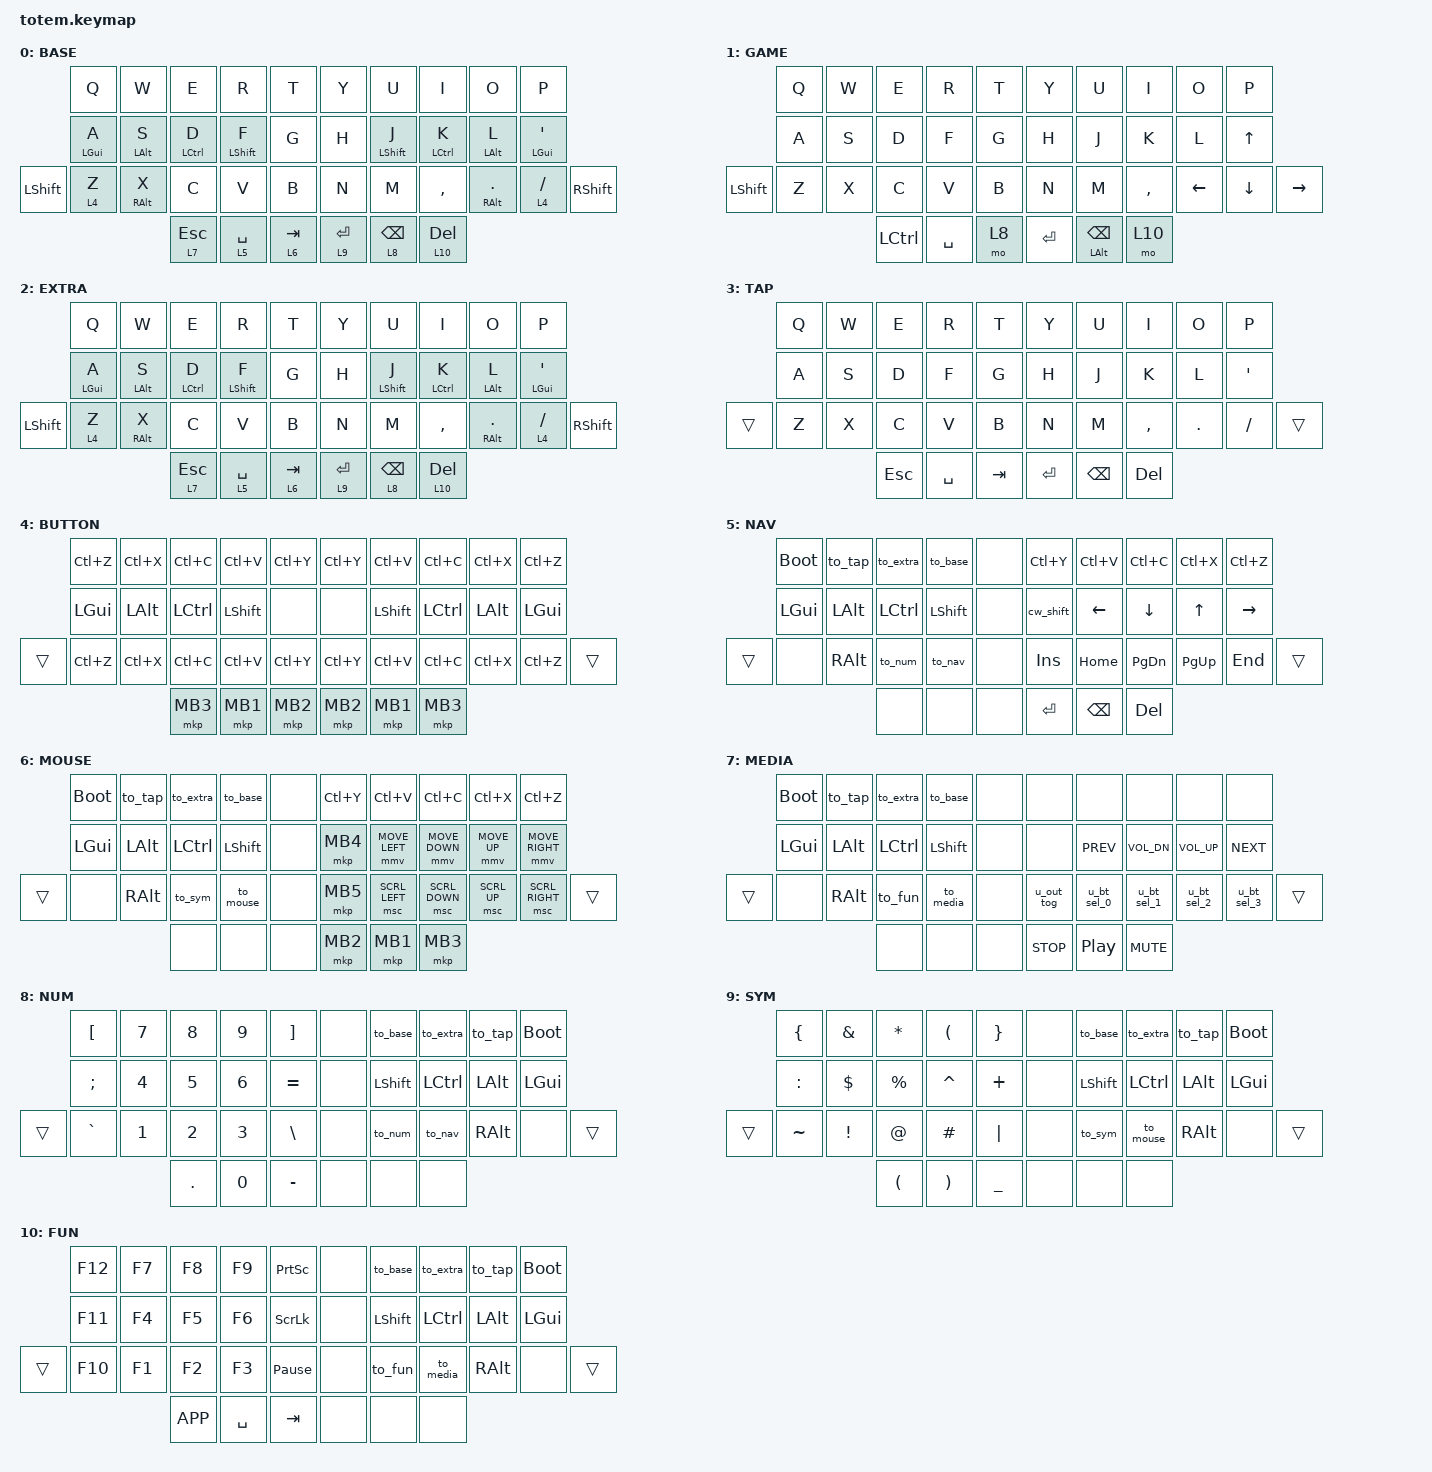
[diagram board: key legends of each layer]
// Miryoku QWERTY for TOTEM. Explicit bindings for ZMK Keymap Editor.
// Adapted from Manna Harbour's Miryoku ZMK (Copyright 2022).
// https://github.com/manna-harbour/miryoku

#define ZMK_POINTING_DEFAULT_MOVE_VAL 1250
#define ZMK_POINTING_DEFAULT_SCRL_VAL 100

#include <behaviors.dtsi>
#include <dt-bindings/zmk/bt.h>
#include <dt-bindings/zmk/keys.h>
#include <dt-bindings/zmk/outputs.h>
#include <dt-bindings/zmk/pointing.h>

&mt {
    tapping-term-ms = <200>;
    flavor = "tap-preferred";
};

&lt {
    tapping-term-ms = <200>;
    flavor = "tap-preferred";
};

&mmv {
    acceleration-exponent = <1>;
    time-to-max-speed-ms = <1500>;
    delay-ms = <0>;
};

/ {
    combos {
        compatible = "zmk,combos";

        // TAP has no layer holds; press both outer pinkie keys to return.

        to_base {
            timeout-ms = <50>;
            key-positions = <20 21>;
            layers = <1>;
            bindings = <&to 0>;
        };

        esc {
            bindings = <&kp ESC>;
            key-positions = <0 1>;
            timeout-ms = <50>;
            layers = <1>;
        };

        tab {
            bindings = <&kp TAB>;
            key-positions = <2 3>;
            timeout-ms = <50>;
            layers = <1>;
        };

        to_game {
            bindings = <&to 1>;
            key-positions = <20 21>;
            layers = <0>;
        };
    };

    behaviors {
        to_base: to_base {
            compatible = "zmk,behavior-tap-dance";
            #binding-cells = <0>;
            tapping-term-ms = <200>;
            bindings = <&none>, <&to 0>;
        };

        to_extra: to_extra {
            compatible = "zmk,behavior-tap-dance";
            #binding-cells = <0>;
            tapping-term-ms = <200>;
            bindings = <&none>, <&to 2>;
        };

        to_tap: to_tap {
            compatible = "zmk,behavior-tap-dance";
            #binding-cells = <0>;
            tapping-term-ms = <200>;
            bindings = <&none>, <&to 3>;
        };

        to_button: to_button {
            compatible = "zmk,behavior-tap-dance";
            #binding-cells = <0>;
            tapping-term-ms = <200>;
            bindings = <&none>, <&to 4>;
        };

        to_nav: to_nav {
            compatible = "zmk,behavior-tap-dance";
            #binding-cells = <0>;
            tapping-term-ms = <200>;
            bindings = <&none>, <&to 5>;
        };

        to_mouse: to_mouse {
            compatible = "zmk,behavior-tap-dance";
            #binding-cells = <0>;
            tapping-term-ms = <200>;
            bindings = <&none>, <&to 6>;
        };

        to_media: to_media {
            compatible = "zmk,behavior-tap-dance";
            #binding-cells = <0>;
            tapping-term-ms = <200>;
            bindings = <&none>, <&to 7>;
        };

        to_num: to_num {
            compatible = "zmk,behavior-tap-dance";
            #binding-cells = <0>;
            tapping-term-ms = <200>;
            bindings = <&none>, <&to 8>;
        };

        to_sym: to_sym {
            compatible = "zmk,behavior-tap-dance";
            #binding-cells = <0>;
            tapping-term-ms = <200>;
            bindings = <&none>, <&to 9>;
        };

        to_fun: to_fun {
            compatible = "zmk,behavior-tap-dance";
            #binding-cells = <0>;
            tapping-term-ms = <200>;
            bindings = <&none>, <&to 10>;
        };

        cw_shift: cw_shift {
            compatible = "zmk,behavior-mod-morph";
            #binding-cells = <0>;
            bindings = <&caps_word>, <&kp CAPS>;

            mods = <(MOD_LSFT|MOD_RSFT)>;
        };

        u_out_tog: u_out_tog {
            compatible = "zmk,behavior-mod-morph";
            #binding-cells = <0>;
            bindings = <&out OUT_TOG>, <&out OUT_USB>;

            mods = <(MOD_LSFT|MOD_RSFT)>;
        };

        u_bt_sel_0: u_bt_sel_0 {
            compatible = "zmk,behavior-mod-morph";
            #binding-cells = <0>;
            bindings = <&bt BT_SEL 0>, <&clear_bt_0>;

            mods = <(MOD_LSFT|MOD_RSFT)>;
        };

        u_bt_sel_1: u_bt_sel_1 {
            compatible = "zmk,behavior-mod-morph";
            #binding-cells = <0>;
            bindings = <&bt BT_SEL 1>, <&clear_bt_1>;

            mods = <(MOD_LSFT|MOD_RSFT)>;
        };

        u_bt_sel_2: u_bt_sel_2 {
            compatible = "zmk,behavior-mod-morph";
            #binding-cells = <0>;
            bindings = <&bt BT_SEL 2>, <&clear_bt_2>;

            mods = <(MOD_LSFT|MOD_RSFT)>;
        };

        u_bt_sel_3: u_bt_sel_3 {
            compatible = "zmk,behavior-mod-morph";
            #binding-cells = <0>;
            bindings = <&bt BT_SEL 3>, <&clear_bt_3>;

            mods = <(MOD_LSFT|MOD_RSFT)>;
        };
    };

    macros {
        clear_bt_0: clear_bt_0 {
            compatible = "zmk,behavior-macro";
            #binding-cells = <0>;
            wait-ms = <0>;
            bindings = <&bt BT_SEL 0 &bt BT_CLR>;
        };

        clear_bt_1: clear_bt_1 {
            compatible = "zmk,behavior-macro";
            #binding-cells = <0>;
            wait-ms = <0>;
            bindings = <&bt BT_SEL 1 &bt BT_CLR>;
        };

        clear_bt_2: clear_bt_2 {
            compatible = "zmk,behavior-macro";
            #binding-cells = <0>;
            wait-ms = <0>;
            bindings = <&bt BT_SEL 2 &bt BT_CLR>;
        };

        clear_bt_3: clear_bt_3 {
            compatible = "zmk,behavior-macro";
            #binding-cells = <0>;
            wait-ms = <0>;
            bindings = <&bt BT_SEL 3 &bt BT_CLR>;
        };
    };

    keymap {
        compatible = "zmk,keymap";

        base_layer {
            label = "BASE";
            display-name = "BASE";
            bindings = <
            &kp Q       &kp W       &kp E        &kp R        &kp T        &kp Y      &kp U        &kp I        &kp O         &kp P
            &mt LGUI A  &mt LALT S  &mt LCTRL D  &mt LSHFT F  &kp G        &kp H      &mt LSHFT J  &mt LCTRL K  &mt LALT L    &mt LGUI SQT
&kp LSHIFT  &lt 4 Z     &mt RALT X  &kp C        &kp V        &kp B        &kp N      &kp M        &kp COMMA    &mt RALT DOT  &lt 4 SLASH   &kp RSHIFT
                                    &lt 7 ESC    &lt 5 SPACE  &lt 6 TAB    &lt 9 RET  &lt 8 BSPC   &lt 10 DEL
            >;
        };

        game_layer {
            bindings = <
            &kp Q  &kp W  &kp E      &kp R      &kp T    &kp Y    &kp U                   &kp I      &kp O     &kp P
            &kp A  &kp S  &kp D      &kp F      &kp G    &kp H    &kp J                   &kp K      &kp L     &kp UP
&kp LSHIFT  &kp Z  &kp X  &kp C      &kp V      &kp B    &kp N    &kp M                   &kp COMMA  &kp LEFT  &kp DOWN  &kp RIGHT
                          &kp LCTRL  &kp SPACE  &mo 8    &kp RET  &mt LEFT_ALT BACKSPACE  &mo 10
            >;

            label = "GAME";
        };

        extra_layer {
            label = "EXTRA";
            display-name = "EXTRA";
            bindings = <
            &kp Q       &kp W       &kp E        &kp R        &kp T        &kp Y      &kp U        &kp I        &kp O         &kp P
            &mt LGUI A  &mt LALT S  &mt LCTRL D  &mt LSHFT F  &kp G        &kp H      &mt LSHFT J  &mt LCTRL K  &mt LALT L    &mt LGUI SQT
&kp LSHIFT  &lt 4 Z     &mt RALT X  &kp C        &kp V        &kp B        &kp N      &kp M        &kp COMMA    &mt RALT DOT  &lt 4 SLASH   &kp RSHIFT
                                    &lt 7 ESC    &lt 5 SPACE  &lt 6 TAB    &lt 9 RET  &lt 8 BSPC   &lt 10 DEL
            >;
        };

        tap_layer {
            label = "TAP";
            display-name = "TAP";
            bindings = <
        &kp Q  &kp W  &kp E    &kp R      &kp T      &kp Y    &kp U     &kp I      &kp O    &kp P
        &kp A  &kp S  &kp D    &kp F      &kp G      &kp H    &kp J     &kp K      &kp L    &kp SQT
&trans  &kp Z  &kp X  &kp C    &kp V      &kp B      &kp N    &kp M     &kp COMMA  &kp DOT  &kp SLASH  &trans
                      &kp ESC  &kp SPACE  &kp TAB    &kp RET  &kp BSPC  &kp DEL
            >;
        };

        button_layer {
            label = "BUTTON";
            display-name = "BUTTON";
            bindings = <
        &kp LC(Z)  &kp LC(X)  &kp LC(C)  &kp LC(V)  &kp LC(Y)    &kp LC(Y)  &kp LC(V)  &kp LC(C)  &kp LC(X)  &kp LC(Z)
        &kp LGUI   &kp LALT   &kp LCTRL  &kp LSHFT  &none        &none      &kp LSHFT  &kp LCTRL  &kp LALT   &kp LGUI
&trans  &kp LC(Z)  &kp LC(X)  &kp LC(C)  &kp LC(V)  &kp LC(Y)    &kp LC(Y)  &kp LC(V)  &kp LC(C)  &kp LC(X)  &kp LC(Z)  &trans
                              &mkp MB3   &mkp MB1   &mkp MB2     &mkp MB2   &mkp MB1   &mkp MB3
            >;
        };

        nav_layer {
            label = "NAV";
            display-name = "NAV";
            bindings = <
        &bootloader  &to_tap   &to_extra  &to_base   &none    &kp LC(Y)  &kp LC(V)  &kp LC(C)  &kp LC(X)  &kp LC(Z)
        &kp LGUI     &kp LALT  &kp LCTRL  &kp LSHFT  &none    &cw_shift  &kp LEFT   &kp DOWN   &kp UP     &kp RIGHT
&trans  &none        &kp RALT  &to_num    &to_nav    &none    &kp INS    &kp HOME   &kp PG_DN  &kp PG_UP  &kp END    &trans
                               &none      &none      &none    &kp RET    &kp BSPC   &kp DEL
            >;
        };

        mouse_layer {
            label = "MOUSE";
            display-name = "MOUSE";
            bindings = <
        &bootloader  &to_tap   &to_extra  &to_base   &none    &kp LC(Y)  &kp LC(V)       &kp LC(C)       &kp LC(X)     &kp LC(Z)
        &kp LGUI     &kp LALT  &kp LCTRL  &kp LSHFT  &none    &mkp MB4   &mmv MOVE_LEFT  &mmv MOVE_DOWN  &mmv MOVE_UP  &mmv MOVE_RIGHT
&trans  &none        &kp RALT  &to_sym    &to_mouse  &none    &mkp MB5   &msc SCRL_LEFT  &msc SCRL_DOWN  &msc SCRL_UP  &msc SCRL_RIGHT  &trans
                               &none      &none      &none    &mkp MB2   &mkp MB1        &mkp MB3
            >;
        };

        media_layer {
            label = "MEDIA";
            display-name = "MEDIA";
            bindings = <
        &bootloader  &to_tap   &to_extra  &to_base   &none    &none       &none        &none         &none         &none
        &kp LGUI     &kp LALT  &kp LCTRL  &kp LSHFT  &none    &none       &kp C_PREV   &kp C_VOL_DN  &kp C_VOL_UP  &kp C_NEXT
&trans  &none        &kp RALT  &to_fun    &to_media  &none    &u_out_tog  &u_bt_sel_0  &u_bt_sel_1   &u_bt_sel_2   &u_bt_sel_3  &trans
                               &none      &none      &none    &kp C_STOP  &kp C_PP     &kp C_MUTE
            >;
        };

        num_layer {
            label = "NUM";
            display-name = "NUM";
            bindings = <
        &kp LBKT   &kp N7  &kp N8   &kp N9  &kp RBKT     &none  &to_base   &to_extra  &to_tap   &bootloader
        &kp SEMI   &kp N4  &kp N5   &kp N6  &kp EQUAL    &none  &kp LSHFT  &kp LCTRL  &kp LALT  &kp LGUI
&trans  &kp GRAVE  &kp N1  &kp N2   &kp N3  &kp BSLH     &none  &to_num    &to_nav    &kp RALT  &none        &trans
                           &kp DOT  &kp N0  &kp MINUS    &none  &none      &none
            >;
        };

        sym_layer {
            label = "SYM";
            display-name = "SYM";
            bindings = <
        &kp LBRC   &kp AMPS  &kp ASTRK  &kp LPAR   &kp RBRC     &none  &to_base   &to_extra  &to_tap   &bootloader
        &kp COLON  &kp DLLR  &kp PRCNT  &kp CARET  &kp PLUS     &none  &kp LSHFT  &kp LCTRL  &kp LALT  &kp LGUI
&trans  &kp TILDE  &kp EXCL  &kp AT     &kp HASH   &kp PIPE     &none  &to_sym    &to_mouse  &kp RALT  &none        &trans
                             &kp LPAR   &kp RPAR   &kp UNDER    &none  &none      &none
            >;
        };

        fun_layer {
            label = "FUN";
            display-name = "FUN";
            bindings = <
        &kp F12  &kp F7  &kp F8     &kp F9     &kp PSCRN          &none  &to_base   &to_extra  &to_tap   &bootloader
        &kp F11  &kp F4  &kp F5     &kp F6     &kp SLCK           &none  &kp LSHFT  &kp LCTRL  &kp LALT  &kp LGUI
&trans  &kp F10  &kp F1  &kp F2     &kp F3     &kp PAUSE_BREAK    &none  &to_fun    &to_media  &kp RALT  &none        &trans
                         &kp K_APP  &kp SPACE  &kp TAB            &none  &none      &none
            >;
        };
    };
};
